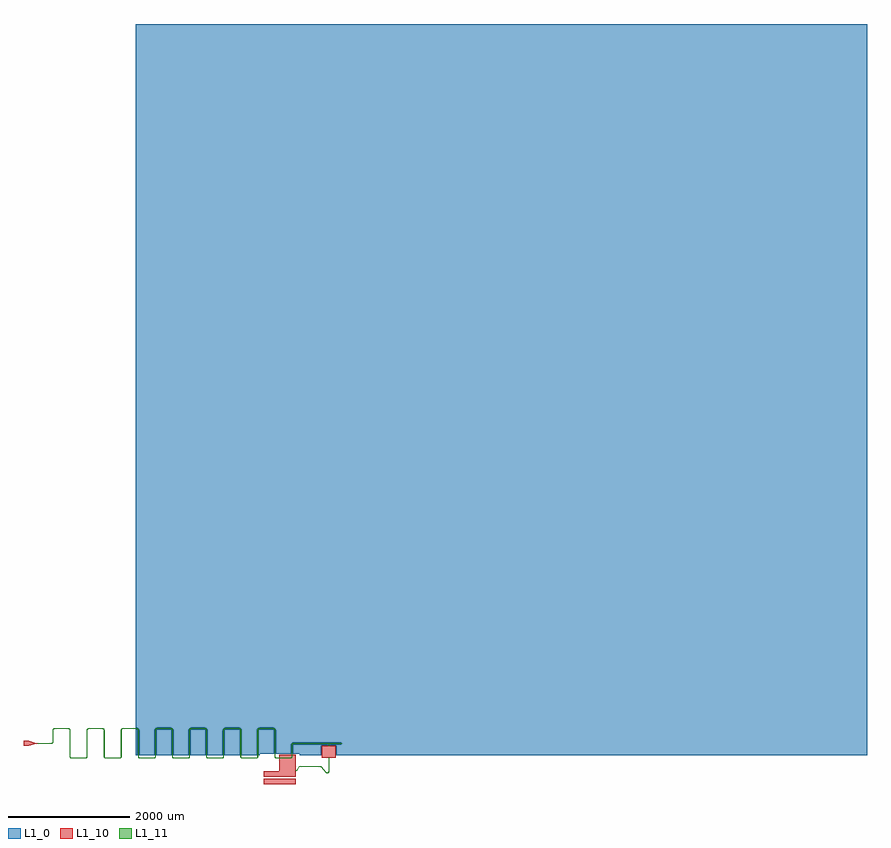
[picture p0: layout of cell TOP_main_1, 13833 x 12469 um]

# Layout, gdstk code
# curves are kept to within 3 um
import gdstk
lib = gdstk.Library(unit=1e-6, precision=1e-09)
def R(c, l, rs):  # rectangles x0, y0, x1, y1
    for r in rs: c.add(gdstk.rectangle(r[:2], r[2:], *l))
def P(c, l, *ps):  # polygons
    for p in ps: c.add(gdstk.Polygon(p, *l))
L1_0 = (1, 0)
L1_10 = (1, 10)
L1_11 = (1, 11)

ground_main_1 = lib.new_cell('ground_main_1')
P(ground_main_1, L1_0, [(-5687,-5586.068),(-5679.298,-5563.814),(-5952.702,-5563.814),(-5945,-5586.068),(-5945,-6000),(-5687,-6000)],
  [(-5127,-5586.068),(-5119.298,-5563.814),(-5392.702,-5563.814),(-5385,-5586.068),(-5385,-6000),(-5127,-6000)],
  [(-4567,-5586.068),(-4559.298,-5563.814),(-4832.702,-5563.814),(-4825,-5586.068),(-4825,-6000),(-4567,-6000)],
  [(-4007,-5586.068),(-3999.298,-5563.814),(-4272.702,-5563.814),(-4265,-5586.068),(-4265,-6000),(-4007,-6000)],
  [(6000,-5563.814),(-3712.702,-5563.814),(-3705,-5586.068),(-3705,-5974),(-3447,-5974),(-3446.349,-5820.787),(-3435.843,-5801.546),(-3416.123,-5791.966),(-2615,-5791.6),(-2615,-5813.6),(-2820,-5813.6),(-2820,-5836.6),(-2710.4,-5836.6),(-2710.4,-6000),(6000,-6000)],
  [(6000,6000),(-6000,6000),(-6000,-5550.068),(-5970.858,-5551.526),(-5952.702,-5563.814),(-5679.298,-5563.814),(-5665.955,-5553.321),(-5651,-5550.068),(-5419.287,-5550.109),(-5404.504,-5554.07),(-5392.702,-5563.814),(-5119.298,-5563.814),(-5105.955,-5553.321),(-5091,-5550.068),(-4859.287,-5550.109),(-4844.504,-5554.07),(-4832.702,-5563.814),(-4559.298,-5563.814),(-4545.955,-5553.321),(-4531,-5550.068),(-4299.287,-5550.109),(-4284.504,-5554.07),(-4272.702,-5563.814),(-3999.298,-5563.814),(-3985.955,-5553.321),(-3971,-5550.068),(-3739.287,-5550.109),(-3724.504,-5554.07),(-3712.702,-5563.814),(6000,-5563.814)],
  [(-5407,-5586.068),(-5410.737,-5576.545),(-5421,-5572.068),(-5651,-5572.068),(-5663.124,-5579.068),(-5665,-6000),(-5407,-6000)],
  [(-4847,-5586.068),(-4850.737,-5576.545),(-4861,-5572.068),(-5091,-5572.068),(-5103.124,-5579.068),(-5105,-6000),(-4847,-6000)],
  [(-4287,-5586.068),(-4290.737,-5576.545),(-4301,-5572.068),(-4531,-5572.068),(-4543.124,-5579.068),(-4545,-6000),(-4287,-6000)],
  [(-3961,-5974),(-3727,-5974),(-3727,-5586.068),(-3734,-5573.943),(-3971,-5572.068),(-3983.124,-5579.068),(-3985,-6000),(-3961,-6000)],
  [(-5967,-5586.068),(-5975.885,-5573.036),(-6000,-5572.068),(-6000,-6000),(-5967,-6000)],
  [(-3412.046,-5813.639),(-3420.522,-5817.337),(-3424.961,-5826.554),(-3425,-5974),(-3311,-5974),(-3311,-6000),(-2951.6,-6000),(-2951.6,-5836.6),(-2842,-5836.6),(-2842,-5813.6)])

top_main_1 = lib.new_cell('TOP_main_1')
P(top_main_1, L1_10, [(-3896,-6349),(-3376,-6349),(-3376,-6259),(-3896,-6259),(-3896,-6349)],
  [(-3896,-6469),(-3376,-6469),(-3376,-6379),(-3896,-6379),(-3896,-6469)],
  [(-3646,-6257.6),(-3376,-6257.6),(-3376,-5987.6),(-3646,-5987.6),(-3646,-6257.6)],
  [(-7631,-5797.6),(-7753,-5762.6),(-7833,-5762.6),(-7833,-5842.6),(-7753,-5842.6),(-7631,-5807.6),(-7606,-5807.6),(-7606,-5797.6),(-7631,-5797.6)],
  [(-2716.4,-6039.8),(-2945.6,-6039.8),(-2945.6,-5861.8),(-2927.6,-5861.8),(-2927.6,-6021.8),(-2907.2,-6021.8),(-2907.2,-5861.8),(-2889.2,-5861.8),(-2889.2,-6021.8),(-2868.8,-6021.8),(-2868.8,-5861.8),(-2850.8,-5861.8),(-2850.8,-6021.8),(-2830.4,-6021.8),(-2830.4,-5861.8),(-2812.4,-5861.8),(-2812.4,-6021.8),(-2792,-6021.8),(-2792,-5861.8),(-2774,-5861.8),(-2774,-6021.8),(-2753.6,-6021.8),(-2753.6,-5861.8),(-2735.6,-5861.8),(-2735.6,-6021.8),(-2716.4,-6021.8),(-2716.4,-6039.8)],
  [(-2945.6,-5842.6),(-2716.4,-5842.6),(-2716.4,-6020.6),(-2734.4,-6020.6),(-2734.4,-5860.6),(-2754.8,-5860.6),(-2754.8,-6020.6),(-2772.8,-6020.6),(-2772.8,-5860.6),(-2793.2,-5860.6),(-2793.2,-6020.6),(-2811.2,-6020.6),(-2811.2,-5860.6),(-2831.6,-5860.6),(-2831.6,-6020.6),(-2849.6,-6020.6),(-2849.6,-5860.6),(-2870,-5860.6),(-2870,-6020.6),(-2888,-6020.6),(-2888,-5860.6),(-2908.4,-5860.6),(-2908.4,-6020.6),(-2926.4,-6020.6),(-2926.4,-5860.6),(-2945.6,-5860.6),(-2945.6,-5842.6)])
R(top_main_1, L1_11, [(-2836,-6079.8,-2826,-6039.8), (-2836,-5842.6,-2826,-5807.6), (-3047,-5807.6,-2615,-5797.6)])
P(top_main_1, L1_11, [(-3376,-6242.6),(-3376,-6252.6),(-3348.014,-6252.6),(-3313.014,-6187.6),(-3211,-6187.6),(-3211,-6177.6),(-3318.986,-6177.6),(-3353.986,-6242.6)],
  [(-7070.842,-6021.639),(-7071.041,-5584.498),(-7072.468,-5576.797),(-7076.729,-5568.434),(-7082.12,-5562.753),(-7088.798,-5558.661),(-7101,-5556.068),(-7331,-5556.068),(-7343.202,-5558.661),(-7349.88,-5562.753),(-7355.271,-5568.434),(-7359.007,-5575.317),(-7360.836,-5582.932),(-7361,-5777.6),(-7362.903,-5786.116),(-7367.309,-5792.179),(-7373.638,-5796.196),(-7381,-5797.6),(-7606,-5797.6),(-7606,-5807.6),(-7381,-5807.6),(-7368.798,-5805.006),(-7362.12,-5800.914),(-7356.729,-5795.234),(-7352.993,-5788.351),(-7351.164,-5780.736),(-7350.961,-5584.812),(-7349.097,-5577.552),(-7343.748,-5570.657),(-7338.362,-5567.472),(-7331,-5566.068),(-7101,-5566.068),(-7093.638,-5567.472),(-7084.82,-5574.312),(-7081.039,-5584.812),(-7081,-6019.132),(-7078.406,-6031.334),(-7070.842,-6041.624)],
  [(-6819.43,-6049.091),(-6808.798,-6046.539),(-6799.787,-6040.345),(-6793.594,-6031.334),(-6791.041,-6020.702),(-6791,-5586.068),(-6787.887,-5575.351),(-6781.717,-5569.181),(-6772.256,-5566.107),(-6539.744,-5566.107),(-6532.484,-5567.971),(-6527.309,-5571.488),(-6522.903,-5577.552),(-6521.039,-5584.812),(-6521.039,-5563.677),(-6526,-5560.087),(-6533.235,-5557.09),(-6541,-5556.068),(-6772.57,-5556.109),(-6786,-5560.087),(-6792.213,-5564.855),(-6796.981,-5571.068),(-6799.978,-5578.303),(-6801,-5586.068),(-6801,-6019.132),(-6802.903,-6027.648),(-6808.252,-6034.543),(-6813.638,-6037.728),(-6821,-6039.132),(-7052.256,-6039.093),(-7059.516,-6037.229),(-7064.691,-6033.712),(-7069.097,-6027.648),(-7070.842,-6021.639),(-7070.842,-6041.624),(-7063.202,-6046.539),(-7054.136,-6048.968)],
  [(-6259.43,-6049.091),(-6248.798,-6046.539),(-6239.787,-6040.345),(-6233.594,-6031.334),(-6231.041,-6020.702),(-6231,-5586.068),(-6228.526,-5576.433),(-6221.717,-5569.181),(-6212.256,-5566.107),(-5981,-5566.068),(-5981,-5556.068),(-6212.57,-5556.109),(-6226,-5560.087),(-6232.213,-5564.855),(-6236.981,-5571.068),(-6239.978,-5578.303),(-6241,-5586.068),(-6241.039,-6020.388),(-6242.903,-6027.648),(-6247.309,-6033.712),(-6253.638,-6037.728),(-6261,-6039.132),(-6492.256,-6039.093),(-6501.717,-6036.019),(-6508.526,-6028.767),(-6511,-6019.132),(-6511.041,-5584.498),(-6514.27,-5572.448),(-6521.039,-5563.677),(-6521,-6019.132),(-6517.73,-6032.752),(-6513.294,-6039.206),(-6507.339,-6044.292),(-6500.271,-6047.664),(-6492.57,-6049.091)],
  [(-5699.43,-6049.091),(-5688.798,-6046.539),(-5679.787,-6040.345),(-5673.594,-6031.334),(-5671.041,-6020.702),(-5670.842,-5563.576),(-5677.73,-5572.448),(-5680.959,-5584.498),(-5681,-6019.132),(-5683.474,-6028.767),(-5690.283,-6036.019),(-5699.744,-6039.093),(-5931,-6039.132),(-5938.362,-6037.728),(-5944.691,-6033.712),(-5949.097,-6027.648),(-5950.961,-6020.388),(-5951.164,-5582.932),(-5954.27,-5572.448),(-5960.926,-5563.773),(-5970.249,-5558.06),(-5981,-5556.068),(-5981,-5566.068),(-5973.638,-5567.472),(-5967.309,-5571.488),(-5962.903,-5577.552),(-5961.039,-5584.812),(-5961,-6019.132),(-5959.978,-6026.897),(-5956.981,-6034.132),(-5952.213,-6040.345),(-5946,-6045.113),(-5932.57,-6049.091)],
  [(-5670.372,-5581.094),(-5667.887,-5575.351),(-5663.748,-5570.657),(-5658.362,-5567.472),(-5652.256,-5566.107),(-5421,-5566.068),(-5413.638,-5567.472),(-5408.252,-5570.657),(-5402.903,-5577.552),(-5401,-5586.068),(-5401,-6019.132),(-5399.978,-6026.897),(-5396.981,-6034.132),(-5392.213,-6040.345),(-5386,-6045.113),(-5372.57,-6049.091),(-5139.43,-6049.091),(-5130.249,-6047.14),(-5121.039,-6041.523),(-5121.039,-6020.388),(-5122.903,-6027.648),(-5127.309,-6033.712),(-5132.484,-6037.229),(-5139.744,-6039.093),(-5372.256,-6039.093),(-5381.717,-6036.019),(-5388.526,-6028.767),(-5391,-6019.132),(-5391.041,-5584.498),(-5394.27,-5572.448),(-5402.12,-5562.753),(-5410.249,-5558.06),(-5419.43,-5556.109),(-5652.57,-5556.109),(-5661.751,-5558.06),(-5670.842,-5563.576)],
  [(-4581,-6039.132),(-4812.256,-6039.093),(-4821.717,-6036.019),(-4828.526,-6028.767),(-4831,-6019.132),(-4831.041,-5584.498),(-4834.27,-5572.448),(-4840.926,-5563.773),(-4850.249,-5558.06),(-4859.43,-5556.109),(-5091,-5556.068),(-5103.202,-5558.661),(-5113.294,-5565.994),(-5119.007,-5575.317),(-5121,-5586.068),(-5121.039,-6041.523),(-5113.594,-6031.334),(-5111,-6019.132),(-5110.961,-5584.812),(-5109.097,-5577.552),(-5104.691,-5571.488),(-5098.362,-5567.472),(-5091,-5566.068),(-4859.744,-5566.107),(-4850.283,-5569.181),(-4843.474,-5576.433),(-4841,-5586.068),(-4840.959,-6020.702),(-4837.73,-6032.752),(-4831.074,-6041.427),(-4821.751,-6047.14),(-4812.57,-6049.091),(-4581,-6049.132)],
  [(-4579.43,-6049.091),(-4570.249,-6047.14),(-4560.926,-6041.427),(-4554.27,-6032.752),(-4551.164,-6022.268),(-4550.961,-5584.812),(-4549.097,-5577.552),(-4544.691,-5571.488),(-4538.362,-5567.472),(-4531,-5566.068),(-4299.744,-5566.107),(-4290.283,-5569.181),(-4283.474,-5576.433),(-4281,-5586.068),(-4280.959,-6020.702),(-4277.73,-6032.752),(-4270.842,-6041.624),(-4271.041,-5584.498),(-4275.019,-5571.068),(-4279.787,-5564.855),(-4286,-5560.087),(-4293.235,-5557.09),(-4301,-5556.068),(-4532.57,-5556.109),(-4546,-5560.087),(-4552.213,-5564.855),(-4556.981,-5571.068),(-4559.978,-5578.303),(-4561,-5586.068),(-4561.039,-6020.388),(-4562.903,-6027.648),(-4567.309,-6033.712),(-4573.638,-6037.728),(-4581,-6039.132),(-4581,-6049.132)],
  [(-4019.43,-6049.091),(-4008.798,-6046.539),(-3999.787,-6040.345),(-3993.594,-6031.334),(-3991.041,-6020.702),(-3991,-5586.068),(-3987.887,-5575.351),(-3981.717,-5569.181),(-3972.256,-5566.107),(-3739.744,-5566.107),(-3732.484,-5567.971),(-3727.309,-5571.488),(-3722.903,-5577.552),(-3721.039,-5584.812),(-3721.039,-5563.677),(-3726,-5560.087),(-3733.235,-5557.09),(-3741,-5556.068),(-3972.57,-5556.109),(-3986,-5560.087),(-3992.213,-5564.855),(-3996.981,-5571.068),(-3999.978,-5578.303),(-4001,-5586.068),(-4001,-6019.132),(-4002.903,-6027.648),(-4008.252,-6034.543),(-4013.638,-6037.728),(-4021,-6039.132),(-4252.256,-6039.093),(-4259.516,-6037.229),(-4264.691,-6033.712),(-4269.097,-6027.648),(-4270.842,-6021.639),(-4270.842,-6041.624),(-4263.202,-6046.539),(-4254.136,-6048.968)],
  [(-3459.43,-6049.091),(-3450.249,-6047.14),(-3440.926,-6041.427),(-3435.019,-6034.132),(-3431.369,-6023.825),(-3430.961,-5826.344),(-3427.887,-5816.883),(-3421.717,-5810.713),(-3411,-5807.6),(-3047,-5807.6),(-3047,-5797.6),(-3411,-5797.6),(-3421.751,-5799.593),(-3428.634,-5803.329),(-3435.271,-5809.966),(-3439.007,-5816.849),(-3440.836,-5824.464),(-3441.039,-6020.388),(-3442.903,-6027.648),(-3448.252,-6034.543),(-3453.638,-6037.728),(-3461,-6039.132),(-3697.18,-6038.153),(-3706.41,-6031.881),(-3710.961,-6020.388),(-3711,-5586.068),(-3713.594,-5573.866),(-3721.039,-5563.677),(-3721,-6019.132),(-3717.73,-6032.752),(-3713.294,-6039.206),(-3707.339,-6044.292),(-3700.271,-6047.664),(-3692.57,-6049.091)],
  [(-2826,-6079.8),(-2836,-6079.8),(-2836.162,-6266.264),(-2840.703,-6276.61),(-2850.126,-6282.844),(-2860.189,-6283.282),(-2869.189,-6278.76),(-2950.872,-6186.579),(-2957.119,-6181.71),(-2964.423,-6178.646),(-2972.275,-6177.6),(-3211,-6177.6),(-3211,-6187.6),(-2967.119,-6188.276),(-2957.284,-6194.361),(-2875.166,-6286.805),(-2868.663,-6290.922),(-2861.327,-6293.249),(-2847.579,-6292.519),(-2839.228,-6288.6),(-2833.452,-6283.514),(-2828.506,-6275.728),(-2826.159,-6266.807)])
top_main_1.add(gdstk.Reference(ground_main_1, (0,0)))

lib.write_gds('TOP_main_1.gds')
